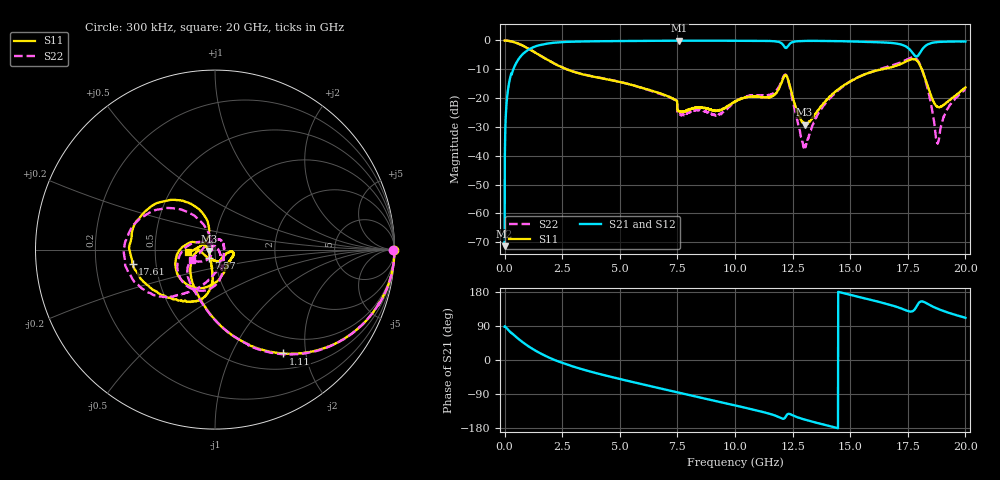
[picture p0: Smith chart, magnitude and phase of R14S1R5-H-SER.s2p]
!{R14S1R5}
!Johanson Technology Inc.
!www.johansontechnology.com
!Test Board Conditions:
!Substrate Type  RO4350B
!Substrate Thickness  20 mil
!Substrate Dk  3.66
!TL Type: GCPW
!TL Trace Width  36 mil
!TL Gap  12 mil
!Electrode orientation  Horizontal
!DUT TOPOLOGY	SERIES
!Mounting Pad LxW  26x36 mil
! Created Wed Nov 25 17:33:21 2020
! 2 Port Network Data from SP1.SP block
! freq  magS11  angS11  magS21  angS21  magS12  angS12  magS22  angS22
# khz S ma R 50
! decimated to every 10th point (10 MHz spacing) of the original 1 MHz Johanson file; values unchanged
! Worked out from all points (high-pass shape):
!   2001 points, 300 kHz to 20 GHz, reference 50 ohm
!   highest |S21| = -0.06 dB at 7.59 GHz (marker M1); lowest = -71.4 dB at 300 kHz (marker M2)
!   |S21| within 3 dB of the highest: 1.065 GHz to 17.58 GHz (16.51 GHz wide, 177 % of centre); 18.13 GHz to end of sweep
!   lowest |S11| = -29.2 dB at 13.02 GHz (marker M3), VSWR 1.07, Z = 46.7 - j0.685 ohm
!   |S11| at or under -10 dB: 2.694 GHz to 16.42 GHz (13.72 GHz wide, 144 % of centre); 18.11 GHz to end of sweep
!   |S22| runs from -37.3 to 0.0 dB; largest |S21 - S12| = 0.013
!   S11 on the Smith chart (normalised r, x): 300 kHz: open; 1.11 GHz: 0.72, -1.61; 7.57 GHz: 0.93, -0.09; 17.61 GHz: 0.37, -0.07; 20 GHz: 0.74, -0.02
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300  0.9959 -0.0  0.0002699 88.0  0.0002458 93.8  0.9944 -0.0
110300  0.9934 -7.3  0.1053 82.6  0.1057 82.6  0.9943 -7.2
200300  0.9809 -13.1  0.189 76.7  0.1899 76.6  0.9811 -13.1
1110300  0.6916 -56.7  0.7197 33.2  0.7185 33.1  0.6941 -57.1
2040300  0.4208 -86.3  0.9027 3.5  0.9043 3.5  0.4204 -86.4
3340300  0.2616 -112.8  0.9604 -23.9  0.9608 -24.0  0.2632 -114.5
6670300  0.1238 -164.3  0.9866 -73.8  0.9864 -73.8  0.1213 -161.0
7570300  0.05942 -125.3  0.9915 -86.2  0.9924 -86.3  0.05421 135.8
7590300  0.05977 -123.0  0.9929 -86.5  0.9919 -86.6  0.05337 132.9
9250300  0.0604 -36.3  0.9922 -109.6  0.9895 -109.6  0.05077 -6.7
1.00003e7  0.08802 -7.9  0.988 -119.8  0.9871 -119.9  0.08582 -58.4
1.16103e7  0.108 -47.2  0.9739 -144.0  0.9726 -143.9  0.1185 -70.9
1.22003e7  0.2523 -140.2  0.7406 -149.6  0.745 -149.7  0.255 -135.1
1.30203e7  0.03458 -167.8  0.9812 -157.1  0.9809 -157.2  0.01537 40.9
1.33403e7  0.04469 -130.9  0.9814 -162.5  0.9848 -162.5  0.03182 -33.9
1.46703e7  0.1602 -95.1  0.969 177.1  0.9697 176.9  0.1567 -97.9
1.66703e7  0.3319 -120.7  0.9145 146.6  0.9045 146.3  0.3578 -132.6
1.76103e7  0.4661 -170.4  0.6786 127.8  0.673 127.4  0.4939 -163.9
1.81603e7  0.2801 116.7  0.7286 154.0  0.7271 154.4  0.2777 128.5
1.87803e7  0.07069 132.9  0.9364 135.7  0.9324 135.7  0.01656 172.9
1.92503e7  0.0876 168.5  0.9533 125.0  0.9523 125.5  0.06742 -126.7
2e7  0.153 -174.3  0.9583 111.4  0.9576 111.5  0.1436 -155.4
